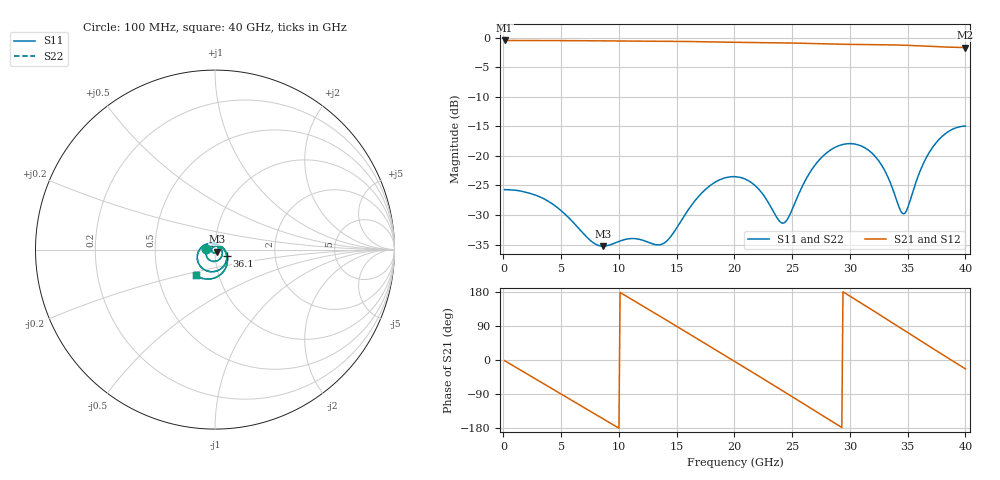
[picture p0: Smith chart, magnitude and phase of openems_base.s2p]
! thru_s8x2_L1: 2×thru, L1, 8 mm
! stackup: 8-layer 1.6 mm FR-4 without the L2 plane
! ports: 1, 2
! openEMS 0.37.0, staircase, base mesh (dfine 0.035 mm), 432250 cells
# Hz S RI R 50
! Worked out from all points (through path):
!   400 points, 100 MHz to 40 GHz, reference 50 ohm
!   highest |S21| = -0.47 dB at 100 MHz (marker M1); lowest = -1.7 dB at 40 GHz (marker M2)
!   group delay of S21, straight-line fit = 51.6 ps
!   lowest |S11| = -35.3 dB at 8.6 GHz (marker M3), VSWR 1.04, Z = 51.3 - j1.13 ohm
!   |S11| at or under -10 dB: start of sweep to end of sweep
!   |S22| runs from -35.3 to -15.0 dB; largest |S21 - S12| = 0
!   S11 on the Smith chart (normalised r, x): 100 MHz: 0.90, +0.00; 36.1 GHz: 1.14, -0.08; 40 GHz: 0.78, -0.23
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1e8  -0.0518 0.0014  0.9468 -0.0297  0.9468 -0.0297  -0.0518 0.0014
1.8e9  -0.0436 0.0236  0.8003 -0.5061  0.8003 -0.5061  -0.0436 0.0236
3.7e9  -0.0197 0.0374  0.3782 -0.8673  0.3782 -0.8673  -0.0197 0.0374
5.2e9  0.0027 0.0329  -0.0564 -0.9431  -0.0564 -0.9431  0.0027 0.0329
6.8e9  0.0178 0.0141  -0.5028 -0.7974  -0.5028 -0.7974  0.0178 0.0141
8.6e9  0.0133 -0.011  -0.8497 -0.4019  -0.8497 -0.4019  0.0133 -0.011
1.09e10  -0.0135 -0.0147  -0.8994 0.2625  -0.8994 0.2625  -0.0135 -0.0147
1.34e10  -0.00958 0.0148  -0.4416 0.823  -0.4416 0.823  -0.00958 0.0148
1.64e10  0.0387 -0.00826  0.4196 0.8267  0.4196 0.8267  0.0387 -0.00826
1.83e10  0.0256 -0.0539  0.8121 0.4324  0.8121 0.4324  0.0256 -0.0539
2.01e10  -0.0219 -0.0629  0.9098 -0.0833  0.9098 -0.0833  -0.0219 -0.0629
2.17e10  -0.0498 -0.0278  0.7456 -0.5204  0.7456 -0.5204  -0.0498 -0.0278
2.36e10  -0.0217 0.022  0.3028 -0.8528  0.3028 -0.8528  -0.0217 0.022
2.45e10  0.0103 0.0263  0.0409 -0.9015  0.0409 -0.9015  0.0103 0.0263
2.67e10  0.0655 -0.0396  -0.5623 -0.6938  -0.5623 -0.6938  0.0655 -0.0396
2.83e10  0.0331 -0.1067  -0.8273 -0.313  -0.8273 -0.313  0.0331 -0.1067
2.99e10  -0.0448 -0.1187  -0.8656 0.145  -0.8656 0.145  -0.0448 -0.1187
3.34e10  -0.0565 0.0268  -0.2037 0.8454  -0.2037 0.8454  -0.0565 0.0268
3.47e10  0.0147 0.0289  0.175 0.8454  0.175 0.8454  0.0147 0.0289
3.61e10  0.0669 -0.0346  0.5348 0.6638  0.5348 0.6638  0.0669 -0.0346
3.81e10  0.0177 -0.1484  0.814 0.1846  0.814 0.1846  0.0177 -0.1484
4e10  -0.108 -0.1423  0.7577 -0.3279  0.7577 -0.3279  -0.108 -0.1423
